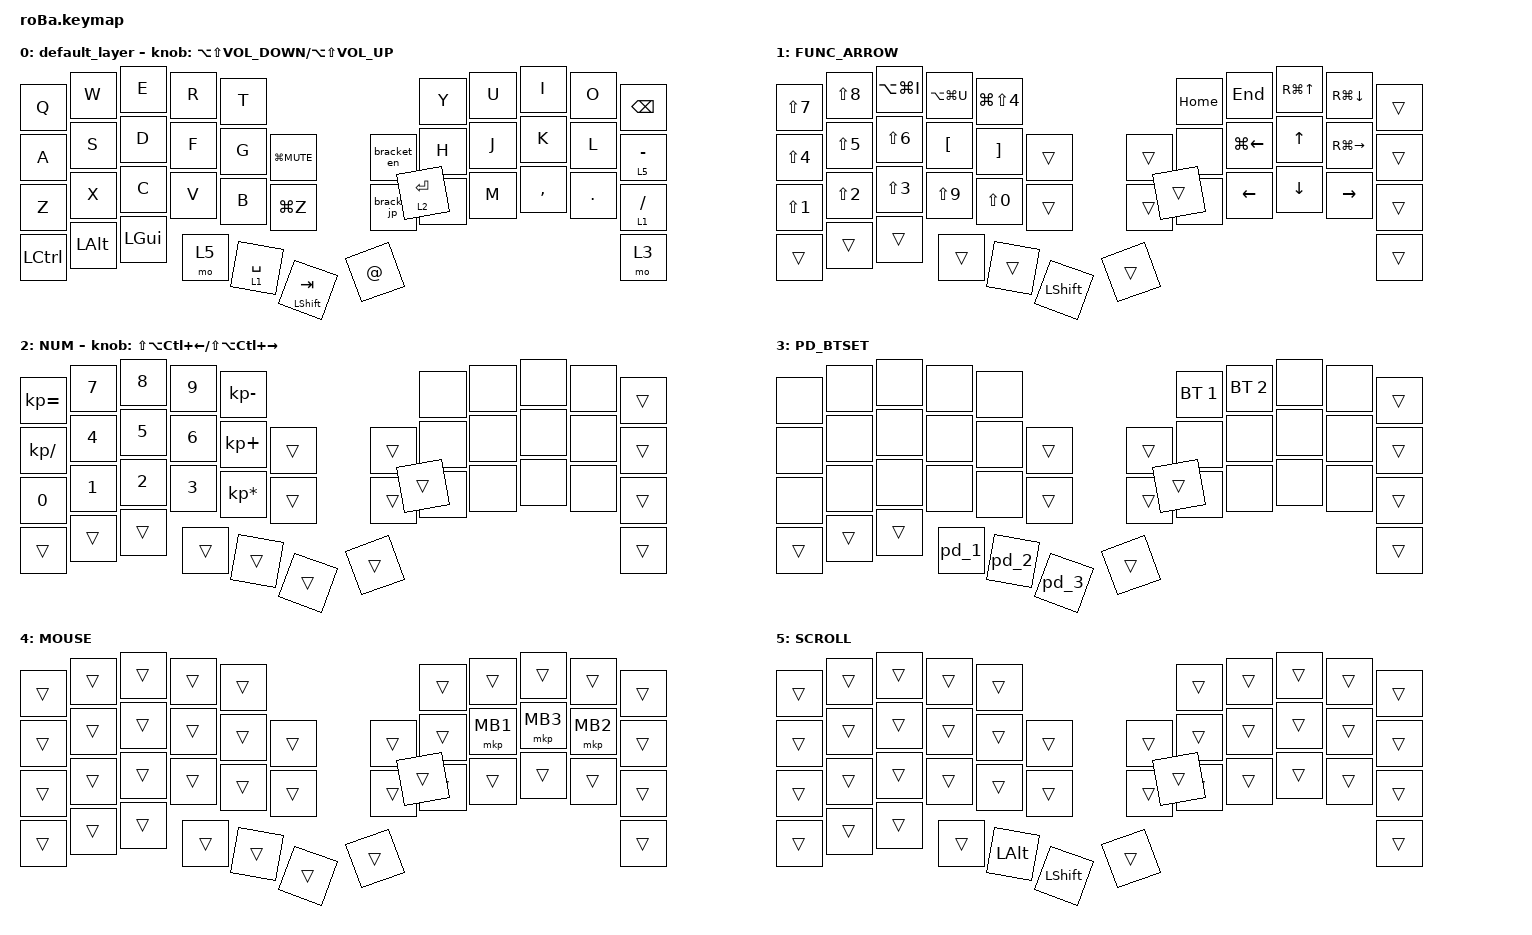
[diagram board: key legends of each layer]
#include <input/processors.dtsi>
#include <behaviors.dtsi>
#include <dt-bindings/zmk/bt.h>
#include <dt-bindings/zmk/keys.h>
#include <dt-bindings/zmk/pointing.h>

&mt {
    flavor = "balanced";
    quick-tap-ms = <200>;
    require-prior-idle-ms = <180>;
    tapping-term-ms = <150>;
};

&lt {
    quick-tap-ms = <200>;
    tapping-term-ms = <150>;
    require-prior-idle-ms = <180>;
    flavor = "balanced";
};

&trackball {
    automouse-layer = <4>;
    scroll-layers = <5>;

    // arrows {
    //     layers = <3>;
    //     bindings =
    //         <&kp RIGHT_ARROW>,
    //         <&kp LEFT_ARROW>,
    //         <&kp UP_ARROW>,
    //         <&kp DOWN_ARROW>;
    //     tick = <10>;
    //     wait-ms = <5>;
    //     tap-ms = <5>;
    // };
};

&trackball_listener {
    input-processors = <&zip_xy_scaler 2 1>;

    scroll_only_vertical {
        layers = <5>;
        input-processors = <&zip_x_scaler 0 1>;
        process-next;
    };
};

/ {
    combos {
        compatible = "zmk,combos";

        p {
            bindings = <&kp P>;
            key-positions = <8 9>;
        };

        lang_en {
            bindings = <&kp LANG2>;
            key-positions = <17 18>;
        };

        lang_jp {
            bindings = <&kp LANG1>;
            key-positions = <18 19>;
        };

        back_page {
            bindings = <&kp RG(LEFT_ARROW)>;
            key-positions = <30 31 29>;
        };

        forward_page {
            bindings = <&kp RG(RIGHT_ARROW)>;
            key-positions = <31 32 30>;
        };

        close {
            bindings = <&kp RG(W)>;
            key-positions = <18 20 19>;
        };

        esc {
            bindings = <&kp ESCAPE>;
            key-positions = <12 13>;
        };

        all_select {
            bindings = <&kp LG(A)>;
            key-positions = <11 12>;
        };

        user_switch {
            bindings = <&kp LG(LS(M))>;
            key-positions = <0 1>;
        };

        save {
            bindings = <&kp LG(S)>;
            key-positions = <14 13 12>;
        };

        copy {
            bindings = <&kp RG(C)>;
            key-positions = <31 30>;
        };

        paste {
            bindings = <&kp RG(V)>;
            key-positions = <31 32>;
        };

        cut {
            bindings = <&kp RG(X)>;
            key-positions = <30 29>;
        };

        reload {
            bindings = <&kp LG(R)>;
            key-positions = <1 0 2>;
        };

        exclamation {
            bindings = <&kp LS(NUMBER_1)>;
            key-positions = <14 13>;
            slow-release;
            timeout-ms = <30>;
            require-prior-idle-ms = <200>;
        };

        question {
            bindings = <&kp LS(SLASH)>;
            key-positions = <26 25>;
        };

        colon {
            bindings = <&kp RS(SEMICOLON)>;
            key-positions = <20 21>;
        };

        equal {
            bindings = <&kp RS(EQUAL)>;
            key-positions = <33 32>;
        };

        TabLeft_R {
            bindings = <&kp RS(TAB)>;
            key-positions = <5 6>;
        };

        TabRight_R {
            bindings = <&kp TAB>;
            key-positions = <6 7>;
        };

        mission_control_R {
            bindings = <&kp F3>;
            key-positions = <18 19 20 21>;
        };

        desktop_R {
            bindings = <&kp F11>;
            key-positions = <19 20 17 18>;
        };

        TabLeft_L {
            bindings = <&kp LS(TAB)>;
            key-positions = <2 3>;
        };

        TabRight_L {
            bindings = <&kp TAB>;
            key-positions = <3 4>;
        };

        window_left {
            bindings = <&kp LC(LA(LG(LEFT_ARROW)))>;
            key-positions = <5 6 7>;
        };

        window_right {
            bindings = <&kp LC(LA(LG(RIGHT)))>;
            key-positions = <6 7 8>;
        };

        window_up {
            bindings = <&kp LC(LA(UP_ARROW))>;
            key-positions = <2 3 4>;
        };

        window_down {
            bindings = <&kp LC(LA(DOWN))>;
            key-positions = <2 3 1>;
        };

        window_max {
            bindings = <&kp LC(LA(LG(UP_ARROW)))>;
            key-positions = <10 11 12 13>;
        };

        window_half_left {
            bindings = <&kp LA(LG(LEFT))>;
            key-positions = <5 7 6 8>;
        };

        window_half_right {
            bindings = <&kp LA(LG(RIGHT))>;
            key-positions = <7 6 8 9>;
        };
    };

    macros {
        to_layer_0: to_layer_0 {
            compatible = "zmk,behavior-macro-one-param";
            #binding-cells = <1>;
            bindings = <&to 0 &macro_param_1to1 &kp MACRO_PLACEHOLDER>;
            label = "TO_LAYER_0";
        };

        pd_1: new_macro {
            compatible = "zmk,behavior-macro";
            #binding-cells = <0>;
            bindings = <&kp LANGUAGE_2 &kp D &kp O &kp N &kp K &kp E &kp Y &kp K &kp O &kp N &kp G &kp N0 &kp N0>;
            label = "NEW_MACRO";
            wait-ms = <0>;
            tap-ms = <0>;
        };

        pd_2: pd_2 {
            compatible = "zmk,behavior-macro";
            #binding-cells = <0>;
            bindings = <&kp LANGUAGE_2 &kp LS(D) &kp R &kp A &kp S &kp T &kp I &kp C &kp UNDER &kp LS(M) &kp O &kp V &kp I &kp E &kp UNDER &kp N2 &kp N2 &kp N0 &kp N3>;
            label = "PD_2";
            wait-ms = <0>;
            tap-ms = <0>;
        };

        pd_3: pd_3 {
            compatible = "zmk,behavior-macro";
            #binding-cells = <0>;
            bindings = <&kp LANGUAGE_2 &kp LS(D) &kp N0 &kp N &kp K &kp E &kp Y &kp UNDER &kp K &kp O &kp N &kp LS(G) &kp UNDER &kp N2 &kp N0 &kp N1 &kp N9>;
            label = "PD_3";
            wait-ms = <0>;
            tap-ms = <0>;
        };

        blacket_and_left: blacket_set {
            compatible = "zmk,behavior-macro";
            #binding-cells = <0>;
            bindings = <&kp LS(NUMBER_9) &kp RS(NUMBER_0) &kp LEFT_ARROW>;
            label = "BLACKET_SET";
            wait-ms = <0>;
            tap-ms = <0>;
        };

        en_slash: slash {
            compatible = "zmk,behavior-macro";
            #binding-cells = <0>;
            bindings = <&kp LANGUAGE_2 &kp SLASH>;
            label = "SLASH";
            wait-ms = <0>;
            tap-ms = <0>;
        };

        bracket_en: braket_jp {
            compatible = "zmk,behavior-macro";
            #binding-cells = <0>;
            bindings = <&kp LEFT_BRACKET &kp RIGHT_BRACKET>;
            label = "BRAKET_JP";
            wait-ms = <0>;
            tap-ms = <0>;
        };

        en_atsign: en_atsign {
            compatible = "zmk,behavior-macro";
            #binding-cells = <0>;
            bindings = <&kp LANGUAGE_2 &kp AT>;
            label = "EN_ATSIGN";
            wait-ms = <0>;
            tap-ms = <0>;
        };

        bracket_jp: bracket {
            compatible = "zmk,behavior-macro";
            #binding-cells = <0>;
            bindings = <&kp RS(NUMBER_9) &kp RS(NUMBER_0)>;
            label = "BRACKET";
        };
    };

    behaviors {
        lt_to_layer_0: lt_to_layer_0 {
            compatible = "zmk,behavior-hold-tap";
            label = "LAYER_TAP_TO_0";
            bindings = <&mo>, <&to_layer_0>;

            #binding-cells = <2>;
            tapping-term-ms = <200>;
        };

        hold_macro_bracket: hold_macro_bracket {
            compatible = "zmk,behavior-hold-tap";
            label = "HOLD_MACRO_BRACKET";
            bindings = <&kp>, <&blacket_and_left>;

            #binding-cells = <2>;
            tapping-term-ms = <250>;
            flavor = "balanced";
        };

        hold_macro_bracket_jp: hold_macro_bracket_jp {
            compatible = "zmk,behavior-hold-tap";
            label = "HOLD_MACRO_BRACKET_JP";
            bindings = <&kp>, <&blacket_and_left>;

            #binding-cells = <2>;
            tapping-term-ms = <250>;
            flavor = "balanced";
        };

        hold_macro_atsign: hold_macro_atsign {
            compatible = "zmk,behavior-hold-tap";
            label = "HOLD_MACRO_ATSIGN";
            bindings = <&mo>, <&en_atsign>;

            #binding-cells = <2>;
            tapping-term-ms = <250>;
            flavor = "balanced";
        };

        lt_left: lt_left {
            compatible = "zmk,behavior-hold-tap";
            label = "LT_LEFT";
            bindings = <&mo>, <&kp>;

            #binding-cells = <2>;
            tapping-term-ms = <280>;
            quick-tap-ms = <175>;
            flavor = "balanced";
            require-prior-idle-ms = <250>;
            hold-trigger-key-positions = <17 18 19 20 5 6 7 8 29 30 31 32 16 28 9 21 33 42>;
            hold-trigger-on-release;
        };

        lt_right: lt_right {
            compatible = "zmk,behavior-hold-tap";
            label = "LT_RIGHT";
            bindings = <&mo>, <&kp>;

            #binding-cells = <2>;
            tapping-term-ms = <280>;
            quick-tap-ms = <175>;
            flavor = "balanced";
            require-prior-idle-ms = <250>;
            hold-trigger-on-release;
            hold-trigger-key-positions = <1 4 3 2 14 26 25 13 12 23 11 10 22 24 0>;
        };

        mt_fast: mt_fast {
            compatible = "zmk,behavior-hold-tap";
            label = "MT_FAST";
            #binding-cells = <2>;
            flavor = "balanced";
            tapping-term-ms = <100>;
            quick-tap-ms = <200>;
            require-prior-idle-ms = <100>;
            bindings = <&kp>, <&kp>;
        };
    };

    keymap {
        compatible = "zmk,keymap";

        default_layer {
            bindings = <
&kp Q      &kp W         &kp E         &kp R  &kp T                                                  &kp Y        &kp U  &kp I      &kp O    &kp BACKSPACE
&kp A      &kp S         &kp D         &kp F  &kp G        &kp LG(K_MUTE)               &bracket_en  &kp H        &kp J  &kp K      &kp L    &lt 5 MINUS
&kp Z      &kp X         &kp C         &kp V  &kp B        &kp LG(Z)                    &bracket_jp  &kp N        &kp M  &kp COMMA  &kp DOT  &lt 1 SLASH
&kp LCTRL  &kp LEFT_ALT  &kp LEFT_GUI  &mo 5  &lt 1 SPACE  &mt_fast LEFT_SHIFT TAB      &kp AT_SIGN  &lt 2 ENTER                             &mo 3
            >;

            sensor-bindings = <&inc_dec_kp LA(LS(C_VOLUME_DOWN)) LA(LS(C_VOLUME_UP))>;
        };

        FUNC_ARROW {
            bindings = <
&kp LS(NUMBER_7)  &kp LS(NUMBER_8)  &kp LA(LG(I))     &kp LA(LG(U))     &kp LG(LS(NUMBER_4))                              &kp HOME  &kp END             &kp RG(UP_ARROW)  &kp RG(DOWN_ARROW)   &trans
&kp LS(NUMBER_4)  &kp LS(NUMBER_5)  &kp LS(NUMBER_6)  &kp LEFT_BRACKET  &kp RIGHT_BRACKET     &trans              &trans  &none     &kp LG(LEFT_ARROW)  &kp UP_ARROW      &kp RG(RIGHT_ARROW)  &trans
&kp LS(NUMBER_1)  &kp LS(NUMBER_2)  &kp LS(NUMBER_3)  &kp LS(NUMBER_9)  &kp LS(NUMBER_0)      &trans              &trans  &none     &kp LEFT_ARROW      &kp DOWN_ARROW    &kp RIGHT_ARROW      &trans
&trans            &trans            &trans            &trans            &trans                &kp LEFT_SHIFT      &trans  &trans                                                               &trans
            >;
        };

        NUM {
            bindings = <
&kp KP_EQUAL   &kp NUMBER_7  &kp N8        &kp NUMBER_9  &kp KP_MINUS                         &none   &none  &none  &none  &trans
&kp KP_DIVIDE  &kp NUMBER_4  &kp N5        &kp NUMBER_6  &kp KP_PLUS      &trans      &trans  &none   &none  &none  &none  &trans
&kp NUMBER_0   &kp NUMBER_1  &kp NUMBER_2  &kp NUMBER_3  &kp KP_MULTIPLY  &trans      &trans  &none   &none  &none  &none  &trans
&trans         &trans        &trans        &trans        &trans           &trans      &trans  &trans                       &trans
            >;

            sensor-bindings = <&inc_dec_kp LS(LA(LC(LEFT_ARROW))) LS(LA(LC(RIGHT)))>;
        };

        PD_BTSET {
            bindings = <
&none   &none   &none   &none  &none                      &bt BT_SEL 1  &bt BT_SEL 2  &none  &none  &trans
&none   &none   &none   &none  &none  &trans      &trans  &none         &none         &none  &none  &trans
&none   &none   &none   &none  &none  &trans      &trans  &none         &none         &none  &none  &trans
&trans  &trans  &trans  &pd_1  &pd_2  &pd_3       &trans  &trans                                    &trans
            >;
        };

        MOUSE {
            bindings = <
&trans  &trans  &trans  &trans  &trans                      &trans  &trans    &trans    &trans    &trans
&trans  &trans  &trans  &trans  &trans  &trans      &trans  &trans  &mkp MB1  &mkp MB3  &mkp MB2  &trans
&trans  &trans  &trans  &trans  &trans  &trans      &trans  &trans  &trans    &trans    &trans    &trans
&trans  &trans  &trans  &trans  &trans  &trans      &trans  &trans                                &trans
            >;
        };

        SCROLL {
            bindings = <
&trans  &trans  &trans  &trans  &trans                                    &trans  &trans  &trans  &trans  &trans
&trans  &trans  &trans  &trans  &trans        &trans              &trans  &trans  &trans  &trans  &trans  &trans
&trans  &trans  &trans  &trans  &trans        &trans              &trans  &trans  &trans  &trans  &trans  &trans
&trans  &trans  &trans  &trans  &kp LEFT_ALT  &kp LEFT_SHIFT      &trans  &trans                          &trans
            >;
        };
    };

    conditional_layers { compatible = "zmk,conditional-layers"; };
};
